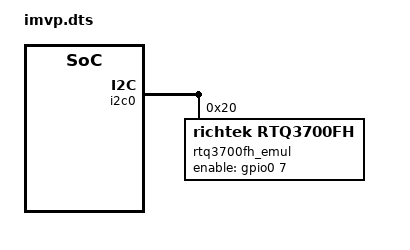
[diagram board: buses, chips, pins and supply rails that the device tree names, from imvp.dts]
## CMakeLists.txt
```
# Copyright 2025 The ChromiumOS Authors
# Use of this source code is governed by a BSD-style license that can be
# found in the LICENSE file.

# Add source files
target_sources(app PRIVATE src/test_rtq3700fh.c)
```

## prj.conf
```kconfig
# Copyright 2026 The ChromiumOS Authors
# Use of this source code is governed by a BSD-style license that can be
# found in the LICENSE file.

CONFIG_EMUL=y
CONFIG_I2C_EMUL=y

CONFIG_EMUL_RTQ3700FH=y

CONFIG_IMVP_RTQ3700FH=y
CONFIG_IMVP_RTQ3700FH_CONSOLE=y
```

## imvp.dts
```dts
#include <zephyr/dt-bindings/gpio/gpio.h>
#include <dt-bindings/imvp/rtq3700fh.h>

&i2c0 {
	rtq3700fh_emul: richtek-imvp@20 {
		compatible = "richtek,rtq3700fh";
		status = "okay";
		reg = <0x20>;
		enable-gpios = <&gpio0 7 GPIO_ACTIVE_HIGH>;
		update-data = <
			RTQ_WRITE_BYTE(0x50, 0x01, 0x10)
		>;
		update-crc = <0x01E8>;
	};
};
```

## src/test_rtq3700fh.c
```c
/* Copyright 2026 The ChromiumOS Authors
 * Use of this source code is governed by a BSD-style license that can be
 * found in the LICENSE file.
 */

#include "console.h"
#include "drivers/imvp/rtq3700fh.h"
#include "emul/emul_rtq3700fh.h"
#include "power.h"
#include "test/drivers/test_state.h"
#include "timer.h"

#include <stdlib.h>
#include <time.h>

#include <zephyr/fff.h>
#include <zephyr/random/random.h>
#include <zephyr/shell/shell.h>
#include <zephyr/shell/shell_dummy.h>
#include <zephyr/ztest.h>

#define RTQ3700FH_NODE DT_NODELABEL(rtq3700fh_emul)

const struct emul *emul = EMUL_DT_GET(RTQ3700FH_NODE);
const struct device *dev = DEVICE_DT_GET(RTQ3700FH_NODE);

void rtq3700fh_imvp_test_reset(void *fixture)
{
	srand(time(NULL));
	rtq3700fh_emul_reset_regs(emul);

	power_set_state(POWER_S5);

	k_msleep(10);
}

ZTEST_SUITE(rtq3700fh_imvp, drivers_predicate_pre_main, NULL,
	    rtq3700fh_imvp_test_reset, NULL, NULL);

/* =========================================================================
 * Test Cases
 * ========================================================================= */

ZTEST(rtq3700fh_imvp, test_config_mode)
{
	zassert_false(rtq3700fh_emul_is_unlocked(emul));

	power_set_state(POWER_S0);
	zassert_not_ok(
		shell_execute_cmd(get_ec_shell(), "imvp cfg_mode 0x2454"));
	zassert_false(rtq3700fh_emul_is_unlocked(emul));

	power_set_state(POWER_S5);
	zassert_ok(shell_execute_cmd(get_ec_shell(), "imvp cfg_mode 0x1234"));
	zassert_false(rtq3700fh_emul_is_unlocked(emul));

	zassert_ok(shell_execute_cmd(get_ec_shell(), "imvp cfg_mode 0x2454"));
	zassert_true(rtq3700fh_emul_is_unlocked(emul));

	zassert_ok(shell_execute_cmd(get_ec_shell(), "imvp cfg_mode 0x0000"));
	zassert_false(rtq3700fh_emul_is_unlocked(emul));
}

ZTEST(rtq3700fh_imvp, test_page_setting)
{
	size_t buffer_size;
	const char *buffer;

	power_set_state(POWER_S0);
	zassert_not_ok(shell_execute_cmd(get_ec_shell(), "imvp set_page 0x50"));

	power_set_state(POWER_S5);
	zassert_ok(shell_execute_cmd(get_ec_shell(), "imvp set_page 0x50"));

	zassert_ok(shell_execute_cmd(get_ec_shell(), "imvp dump_reg -b 0x00"));
	buffer = shell_backend_dummy_get_output(get_ec_shell(), &buffer_size);
	zassert_not_null(strstr(buffer, "0x50"));
}

ZTEST(rtq3700fh_imvp, test_store_load_commands)
{
	power_set_state(POWER_S0);
	zassert_not_ok(shell_execute_cmd(get_ec_shell(), "imvp store_cfg"));
	zassert_not_ok(shell_execute_cmd(get_ec_shell(), "imvp load_cfg"));

	power_set_state(POWER_S5);
	zassert_ok(shell_execute_cmd(get_ec_shell(), "imvp store_cfg"));
	zassert_ok(shell_execute_cmd(get_ec_shell(), "imvp load_cfg"));
}

ZTEST(rtq3700fh_imvp, test_update_happy_path)
{
	rtq3700fh_emul_set_fw_version(emul, 0x9999);

	rtq3700fh_emul_set_nvm_status(emul, 0xE0);

	zassert_ok(shell_execute_cmd(get_ec_shell(), "imvp update"));

	zassert_false(rtq3700fh_emul_is_unlocked(emul));
}

ZTEST(rtq3700fh_imvp, test_update_crc_trigger)
{
	rtq3700fh_emul_set_checksum(emul, 0xDEADBEEF);

	zassert_ok(shell_execute_cmd(get_ec_shell(), "imvp update"));
}
```
